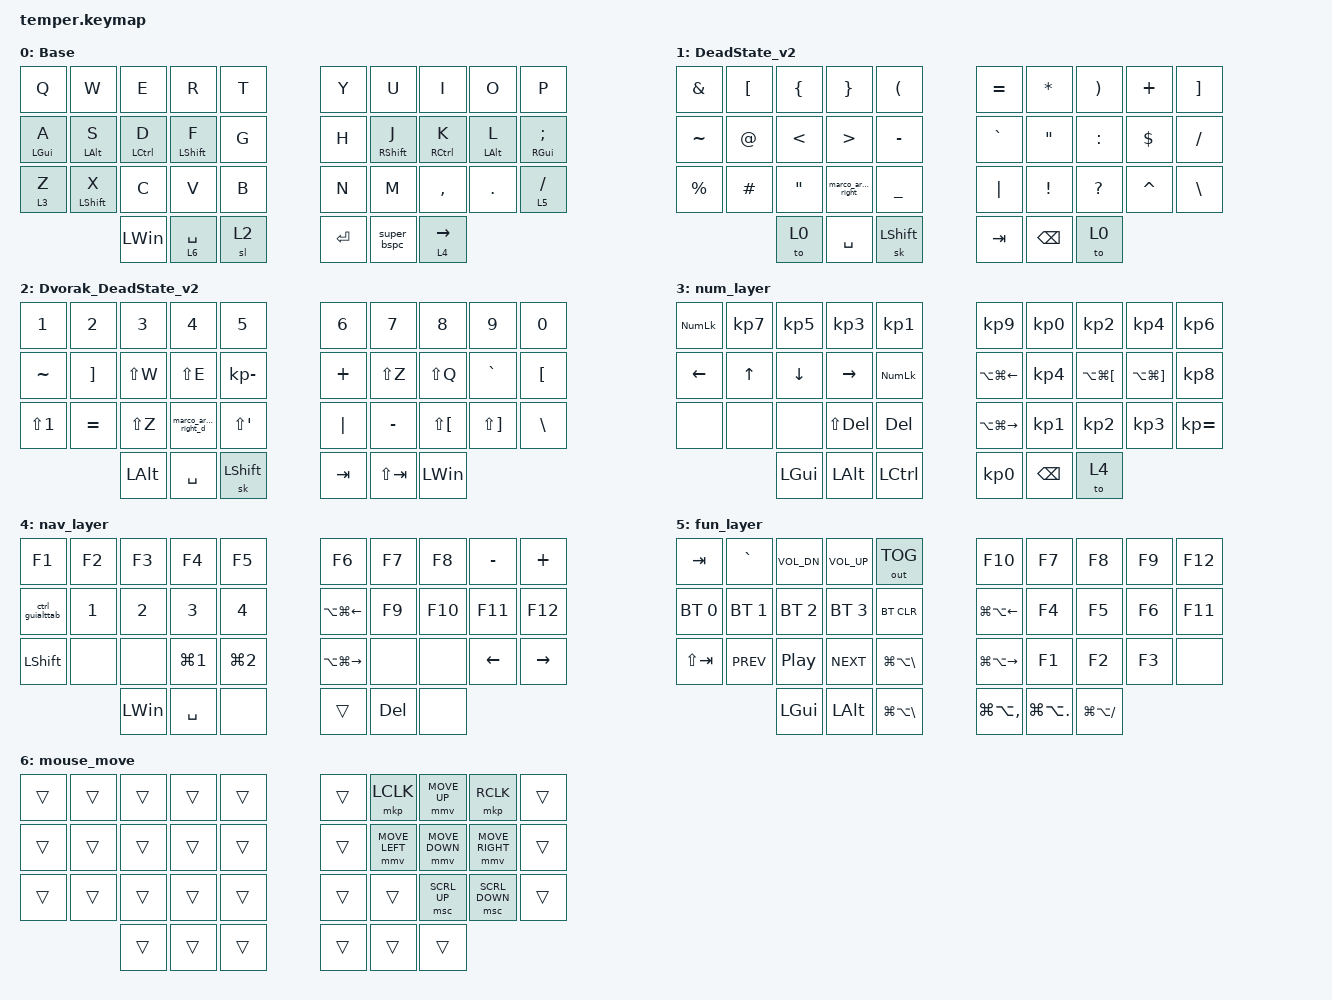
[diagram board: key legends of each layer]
/*
 * Copyright (c) 2020 The ZMK Contributors
 *
 * SPDX-License-Identifier: MIT
 */

#include <behaviors.dtsi>
#include <dt-bindings/zmk/bt.h>
#include <dt-bindings/zmk/keys.h>
#include <dt-bindings/zmk/outputs.h>
#include <dt-bindings/zmk/pointing.h>

#define DEFAULT 0
#define QWERTY 1
#define NUM 2
#define NAV 3
#define FUN 4

&lt {
    tapping-term-ms = <240>;
    quick-tap-ms = <150>;
    require-prior-idle-ms = <10>;
    flavor = "tap-preferred";
};

&mt {
    tapping-term-ms = <250>;
    require-prior-idle-ms = <250>;
    flavor = "tap-preferred";
};

/ {
    conditional_layers { compatible = "zmk,conditional-layers"; };

    behaviors {
        bspc_del: backspace_delete {
            compatible = "zmk,behavior-mod-morph";
            #binding-cells = <0>;
            bindings = <&kp BACKSPACE>, <&kp DELETE>;

            mods = <(MOD_LSFT|MOD_RSFT)>;
            keep-mods = <(MOD_RSFT)>;
        };

        super_bspc: super_backspace {
            compatible = "zmk,behavior-mod-morph";
            #binding-cells = <0>;
            bindings = <&kp BACKSPACE>, <&kp LA(BACKSPACE)>;

            mods = <(MOD_LSFT|MOD_RSFT)>;
        };

        ctrltab: ctrltab {
            compatible = "zmk,behavior-mod-morph";
            label = "CTRLTAB";
            bindings = <&kp LCTRL>, <&kp TAB>;

            #binding-cells = <0>;
            mods = <(MOD_LGUI)>;
            keep-mods = <(MOD_LGUI)>;
        };

        grave_escape: grave_escape {
            compatible = "zmk,behavior-mod-morph";
            label = "GRAVE_ESCAPE";
            bindings = <&kp ESC>, <&kp GRAVE>;

            #binding-cells = <0>;
            mods = <(MOD_LGUI)>;
            keep-mods = <(MOD_LGUI)>;
        };

        ctrl_guialttab: ctrl_guialttab {
            compatible = "zmk,behavior-mod-morph";
            label = "CTRL_GUIALTTAB";
            bindings = <&kp LCTRL>, <&kp TAB>;

            #binding-cells = <0>;
            mods = <(MOD_LALT|MOD_LGUI)>;
            keep-mods = <(MOD_LALT)>;
        };
    };

    combos {
        compatible = "zmk,combos";

        combo_esc {
            bindings = <&gresc>;
            key-positions = <0 1>;
        };

        combo_capture_screen {
            bindings = <&kp LS(LC(LG(NUMBER_4)))>;
            key-positions = <0 1 2>;
        };

        combo_left {
            bindings = <&kp LEFT_ARROW>;
            key-positions = <27 26>;
        };

        combo_right {
            bindings = <&kp RIGHT>;
            key-positions = <28 27>;
        };

        combo_down {
            bindings = <&kp DOWN>;
            key-positions = <1 2>;
        };

        combo_up {
            bindings = <&kp UP>;
            key-positions = <7 8>;
        };

        combo_right2 {
            bindings = <&kp RIGHT>;
            key-positions = <22 23>;
        };

        combo_left2 {
            bindings = <&kp LEFT>;
            key-positions = <21 22>;
        };
    };

    macros {
        marco_arrow_right: marco_arrow_right {
            compatible = "zmk,behavior-macro";
            #binding-cells = <0>;
            bindings = <&kp MINUS &kp GT>;
            label = "MARCO_ARROW_RIGHT";
        };

        marco_arrow_right_d: marco_arrow_right_d {
            compatible = "zmk,behavior-macro";
            #binding-cells = <0>;
            bindings = <&kp KP_MINUS &kp LS(E)>;
            label = "MARCO_ARROW_RIGHT_D";
        };
    };

    keymap {
        compatible = "zmk,keymap";

        Base {
            bindings = <
  &kp Q           &kp W             &kp E         &kp R             &kp T    &kp Y      &kp U         &kp I        &kp O           &kp P
  &mt LEFT_GUI A  &mt LEFT_ALT S    &mt LCTRL D   &mt LEFT_SHIFT F  &kp G    &kp H      &mt RSHIFT J  &mt RCTRL K  &mt LEFT_ALT L  &mt RGUI SEMI
  &lt 3 Z         &mt LEFT_SHIFT X  &kp C         &kp V             &kp B    &kp N      &kp M         &kp COMMA    &kp DOT         &lt 5 SLASH
                                    &kp LEFT_WIN  &lt 6 SPACE       &sl 2    &kp ENTER  &super_bspc   &lt 4 RIGHT
            >;
        };

        DeadState_v2 {
            bindings = <
  &kp AMPS     &kp LBKT  &kp LBRC           &kp RBRC            &kp LPAR          &kp EQUAL  &kp STAR       &kp RPAR      &kp PLUS    &kp RBKT
  &kp TILDE    &kp AT    &kp LT             &kp GT              &kp MINUS         &kp GRAVE  &kp DQT        &kp COLON     &kp DOLLAR  &kp SLASH
  &kp PERCENT  &kp HASH  &kp DOUBLE_QUOTES  &marco_arrow_right  &kp UNDERSCORE    &kp PIPE   &kp EXCL       &kp QUESTION  &kp CARET   &kp BACKSLASH
                         &to 0              &kp SPACE           &sk LEFT_SHIFT    &kp TAB    &kp BACKSPACE  &to 0
            >;
        };

        Dvorak_DeadState_v2 {
            bindings = <
  &kp N1      &kp N2     &kp N3        &kp N4                &kp N5            &kp N6    &kp N7       &kp N8        &kp N9        &kp N0
  &kp TILDE   &kp RBKT   &kp LS(W)     &kp LS(E)             &kp KP_MINUS      &kp PLUS  &kp LS(Z)    &kp LS(Q)     &kp GRAVE     &kp LEFT_BRACKET
  &kp LS(N1)  &kp EQUAL  &kp LS(Z)     &marco_arrow_right_d  &kp LS(SQT)       &kp PIPE  &kp MINUS    &kp LS(LBKT)  &kp LS(RBKT)  &kp BACKSLASH
                         &kp LEFT_ALT  &kp SPACE             &sk LEFT_SHIFT    &kp TAB   &kp LS(TAB)  &kp LEFT_WIN
            >;
        };

        num_layer {
            bindings = <
  &kp KP_NUM      &kp KP_N7     &kp KP_N5     &kp KP_N3       &kp KP_NUMBER_1    &kp KP_N9          &kp KP_N0      &kp KP_N2         &kp KP_N4         &kp KP_N6
  &kp LEFT_ARROW  &kp UP_ARROW  &kp DOWN      &kp RIGHT       &kp KP_NUMLOCK     &kp LA(LG(LEFT))   &kp KP_N4      &kp LA(LG(LBKT))  &kp LA(LG(RBKT))  &kp KP_N8
  &none           &none         &none         &kp LS(DELETE)  &kp DELETE         &kp LA(LG(RIGHT))  &kp KP_N1      &kp KP_N2         &kp KP_N3         &kp KP_EQUAL
                                &kp LEFT_GUI  &kp LEFT_ALT    &kp LCTRL          &kp KP_N0          &kp BACKSPACE  &to 4
            >;
        };

        nav_layer {
            bindings = <
  &kp F1           &kp F2  &kp F3        &kp F4      &kp F5        &kp F6             &kp F7      &kp F8   &kp MINUS  &kp PLUS
  &ctrl_guialttab  &kp N1  &kp N2        &kp N3      &kp N4        &kp LA(LG(LEFT))   &kp F9      &kp F10  &kp F11    &kp F12
  &kp LEFT_SHIFT   &none   &none         &kp LG(N1)  &kp LG(N2)    &kp LA(LG(RIGHT))  &none       &none    &kp LEFT   &kp RIGHT
                           &kp LEFT_WIN  &kp SPACE   &none         &trans             &kp DELETE  &none
            >;
        };

        fun_layer {
            bindings = <
  &kp TAB       &kp GRAVE     &kp C_VOL_DN  &kp C_VOL_UP  &out OUT_TOG             &kp F10            &kp F7           &kp F8             &kp F9  &kp F12
  &bt BT_SEL 0  &bt BT_SEL 1  &bt BT_SEL 2  &bt BT_SEL 3  &bt BT_CLR               &kp LG(LA(LEFT))   &kp F4           &kp F5             &kp F6  &kp F11
  &kp LS(TAB)   &kp C_PREV    &kp C_PP      &kp C_NEXT    &kp LG(LA(BACKSLASH))    &kp LG(LA(RIGHT))  &kp F1           &kp F2             &kp F3  &none
                              &kp LEFT_GUI  &kp LEFT_ALT  &kp LG(LA(BACKSLASH))    &kp LG(LA(COMMA))  &kp LG(LA(DOT))  &kp LG(LA(SLASH))
            >;
        };

        mouse_move {
            bindings = <
  &trans  &trans  &trans  &trans  &trans    &trans  &mkp LCLK       &mmv MOVE_UP    &mkp RCLK        &trans
  &trans  &trans  &trans  &trans  &trans    &trans  &mmv MOVE_LEFT  &mmv MOVE_DOWN  &mmv MOVE_RIGHT  &trans
  &trans  &trans  &trans  &trans  &trans    &trans  &trans          &msc SCRL_UP    &msc SCRL_DOWN   &trans
                  &trans  &trans  &trans    &trans  &trans          &trans
            >;
        };
    };
};
